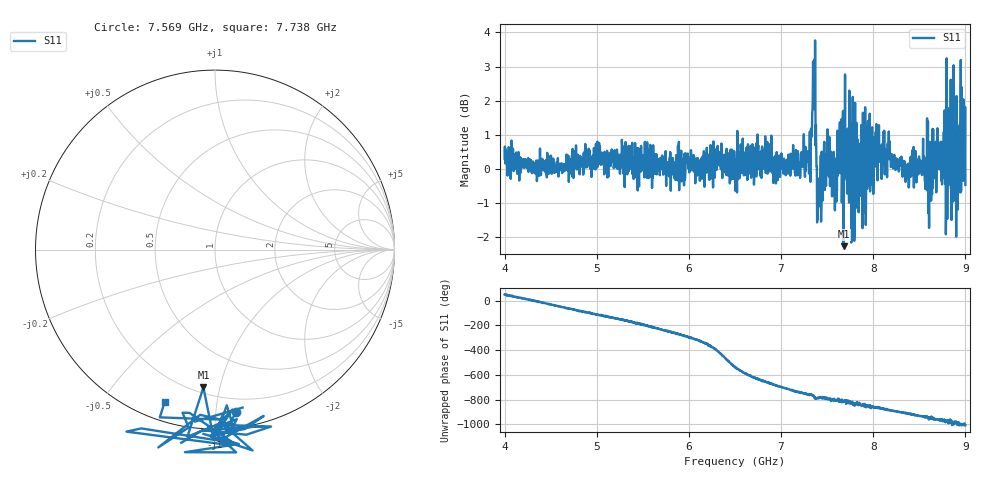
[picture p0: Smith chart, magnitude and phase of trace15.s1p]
! Created with skrf 1.8.0 (http://scikit-rf.org).
# Hz S RI R 50.0
!freq ReS11 ImS11
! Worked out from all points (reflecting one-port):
!   1601 points, 4 GHz to 9 GHz, reference 50 ohm
!   lowest |S11| = -2.3 dB at 7.678 GHz (marker M1), VSWR 7.73, Z = 11.8 - j44.6 ohm
!   phase of S11 starts at 48 deg and turns -1056 deg over the sweep
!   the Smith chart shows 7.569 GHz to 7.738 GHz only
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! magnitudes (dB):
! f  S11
! 4 GHz  0.3
! 4.625 GHz  -0.1
! 5.25 GHz  -0.1
! 5.875 GHz  0.0
! 6.328 GHz  0.5
! 6.5 GHz  -0.1
! 6.744 GHz  1.0
! 7.125 GHz  0.2
! 7.294 GHz  0.2
! 7.316 GHz  0.1
! 7.347 GHz  3.2
! 7.362 GHz  3.2
! 7.4 GHz  -1.1
! 7.412 GHz  -1.0
! 7.488 GHz  -0.5
! 7.575 GHz  -0.3
! 7.647 GHz  1.1
! 7.678 GHz  -2.3
! 7.75 GHz  0.2
! 7.981 GHz  -0.1
! 8.038 GHz  0.7
! 8.375 GHz  0.0
! 8.766 GHz  1.1
! 8.819 GHz  0.4
! 8.875 GHz  0.6
! 8.953 GHz  -0.7
! 8.972 GHz  1.1
! 9 GHz  -0.5
